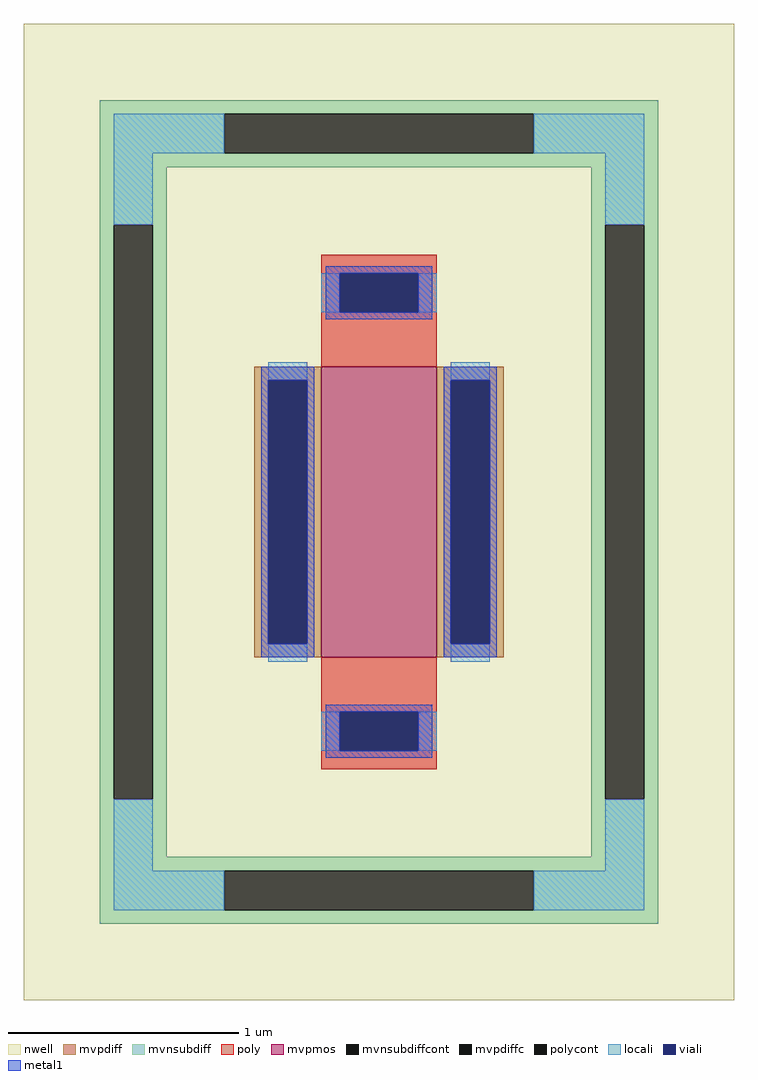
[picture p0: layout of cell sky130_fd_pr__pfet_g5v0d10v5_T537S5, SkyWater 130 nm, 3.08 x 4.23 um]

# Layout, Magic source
magic
tech sky130A
magscale 1 2
<< nwell >>
rect -308 -423 308 423
<< mvpmos >>
rect -50 -126 50 126
<< mvpdiff >>
rect -108 114 -50 126
rect -108 -114 -96 114
rect -62 -114 -50 114
rect -108 -126 -50 -114
rect 50 114 108 126
rect 50 -114 62 114
rect 96 -114 108 114
rect 50 -126 108 -114
<< mvpdiffc >>
rect -96 -114 -62 114
rect 62 -114 96 114
<< mvnsubdiff >>
rect -242 345 242 357
rect -242 311 -134 345
rect 134 311 242 345
rect -242 299 242 311
rect -242 249 -184 299
rect -242 -249 -230 249
rect -196 -249 -184 249
rect 184 249 242 299
rect -242 -299 -184 -249
rect 184 -249 196 249
rect 230 -249 242 249
rect 184 -299 242 -249
rect -242 -311 242 -299
rect -242 -345 -134 -311
rect 134 -345 242 -311
rect -242 -357 242 -345
<< mvnsubdiffcont >>
rect -134 311 134 345
rect -230 -249 -196 249
rect 196 -249 230 249
rect -134 -345 134 -311
<< poly >>
rect -50 207 50 223
rect -50 173 -34 207
rect 34 173 50 207
rect -50 126 50 173
rect -50 -173 50 -126
rect -50 -207 -34 -173
rect 34 -207 50 -173
rect -50 -223 50 -207
<< polycont >>
rect -34 173 34 207
rect -34 -207 34 -173
<< locali >>
rect -230 311 -134 345
rect 134 311 230 345
rect -230 249 -196 311
rect 196 249 230 311
rect -50 173 -34 207
rect 34 173 50 207
rect -96 114 -62 130
rect -96 -130 -62 -114
rect 62 114 96 130
rect 62 -130 96 -114
rect -50 -207 -34 -173
rect 34 -207 50 -173
rect -230 -311 -196 -249
rect 196 -311 230 -249
rect -230 -345 -134 -311
rect 134 -345 230 -311
<< viali >>
rect -34 173 34 207
rect -96 -114 -62 114
rect 62 -114 96 114
rect -34 -207 34 -173
<< metal1 >>
rect -46 207 46 213
rect -46 173 -34 207
rect 34 173 46 207
rect -46 167 46 173
rect -102 114 -56 126
rect -102 -114 -96 114
rect -62 -114 -56 114
rect -102 -126 -56 -114
rect 56 114 102 126
rect 56 -114 62 114
rect 96 -114 102 114
rect 56 -126 102 -114
rect -46 -173 46 -167
rect -46 -207 -34 -173
rect 34 -207 46 -173
rect -46 -213 46 -207
<< properties >>
string FIXED_BBOX -213 -328 213 328
string gencell sky130_fd_pr__pfet_g5v0d10v5
string library sky130
string parameters w 1.26 l 0.5 m 1 nf 1 diffcov 100 polycov 100 guard 1 glc 1 grc 1 gtc 1 gbc 1 tbcov 100 rlcov 100 topc 1 botc 1 poverlap 0 doverlap 1 lmin 0.50 wmin 0.42 compatible {sky130_fd_pr__pfet_01v8  sky130_fd_pr__pfet_01v8_lvt sky130_fd_pr__pfet_01v8_hvt  sky130_fd_pr__pfet_g5v0d10v5} full_metal 1 viasrc 100 viadrn 100 viagate 100 viagb 0 viagr 0 viagl 0 viagt 0
<< end >>
